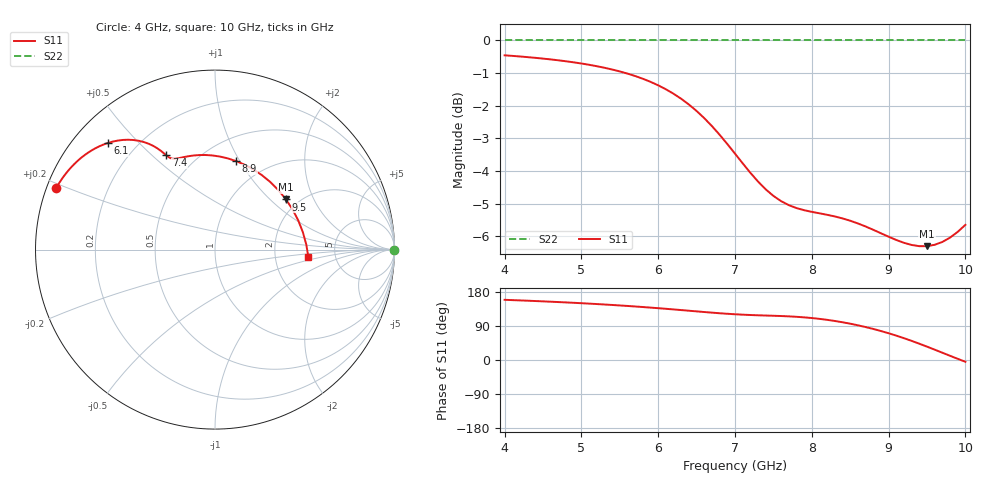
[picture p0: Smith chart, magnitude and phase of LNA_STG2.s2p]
! Touchstone Ver. 1.0
! Number of ports is 2
# Hz	S	RI	R	100.000000	200.000000
! SCATTERING PARAMETERS  :
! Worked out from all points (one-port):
!   61 points, 4 GHz to 10 GHz, reference 100 ohm
!   lowest |S11| = -6.3 dB at 9.5 GHz (marker M1), VSWR 2.88, Z = 173 + j126 ohm
!   |S11| at or under -10 dB: nowhere
!   S11 on the Smith chart (normalised r, x): 4 GHz: 0.03, +0.19; 6.1 GHz: 0.10, +0.41; 7.4 GHz: 0.34, +0.55; 8.9 GHz: 0.73, +0.97; 9.5 GHz: 1.73, +1.26; 10 GHz: 3.14, -0.37
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4e9  -0.885 0.3427  0 0  0 0  1 0
4.5e9  -0.8484 0.4003  0 0  0 0  1 0
5e9  -0.7975 0.4627  0 0  0 0  1 0
5.5e9  -0.725 0.5275  0 0  0 0  1 0
6e9  -0.6215 0.5853  0 0  0 0  1 0
6.1e9  -0.5964 0.5943  0 0  0 0  1 0
6.4e9  -0.5131 0.6109  0 0  0 0  1 0
6.6e9  -0.4534 0.6105  0 0  0 0  1 0
7e9  -0.3426 0.577  0 0  0 0  1 0
7.4e9  -0.2719 0.5256  0 0  0 0  1 0
7.7e9  -0.238 0.5066  0 0  0 0  1 0
8e9  -0.1937 0.5111  0 0  0 0  1 0
8.2e9  -0.1488 0.5201  0 0  0 0  1 0
8.4e9  -0.089 0.5266  0 0  0 0  1 0
8.7e9  0.0273 0.5184  0 0  0 0  1 0
8.9e9  0.1183 0.4929  0 0  0 0  1 0
9e9  0.1662 0.4724  0 0  0 0  1 0
9.2e9  0.2628 0.4137  0 0  0 0  1 0
9.3e9  0.3096 0.3751  0 0  0 0  1 0
9.5e9  0.3955 0.2796  0 0  0 0  1 0
9.8e9  0.4897 0.0964  0 0  0 0  1 0
1e10  0.5204 -0.0431  0 0  0 0  1 0
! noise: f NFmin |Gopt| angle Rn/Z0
4e+09  inf  nan  nan  inf
4.6e+09  inf  nan  nan  inf
5.3e+09  inf  nan  nan  inf
6e+09  inf  nan  nan  inf
6.6e+09  inf  nan  nan  inf
7.3e+09  inf  nan  nan  inf
8e+09  inf  nan  nan  inf
8.6e+09  inf  nan  nan  inf
9.3e+09  inf  nan  nan  inf
1e+10  inf  nan  nan  inf
